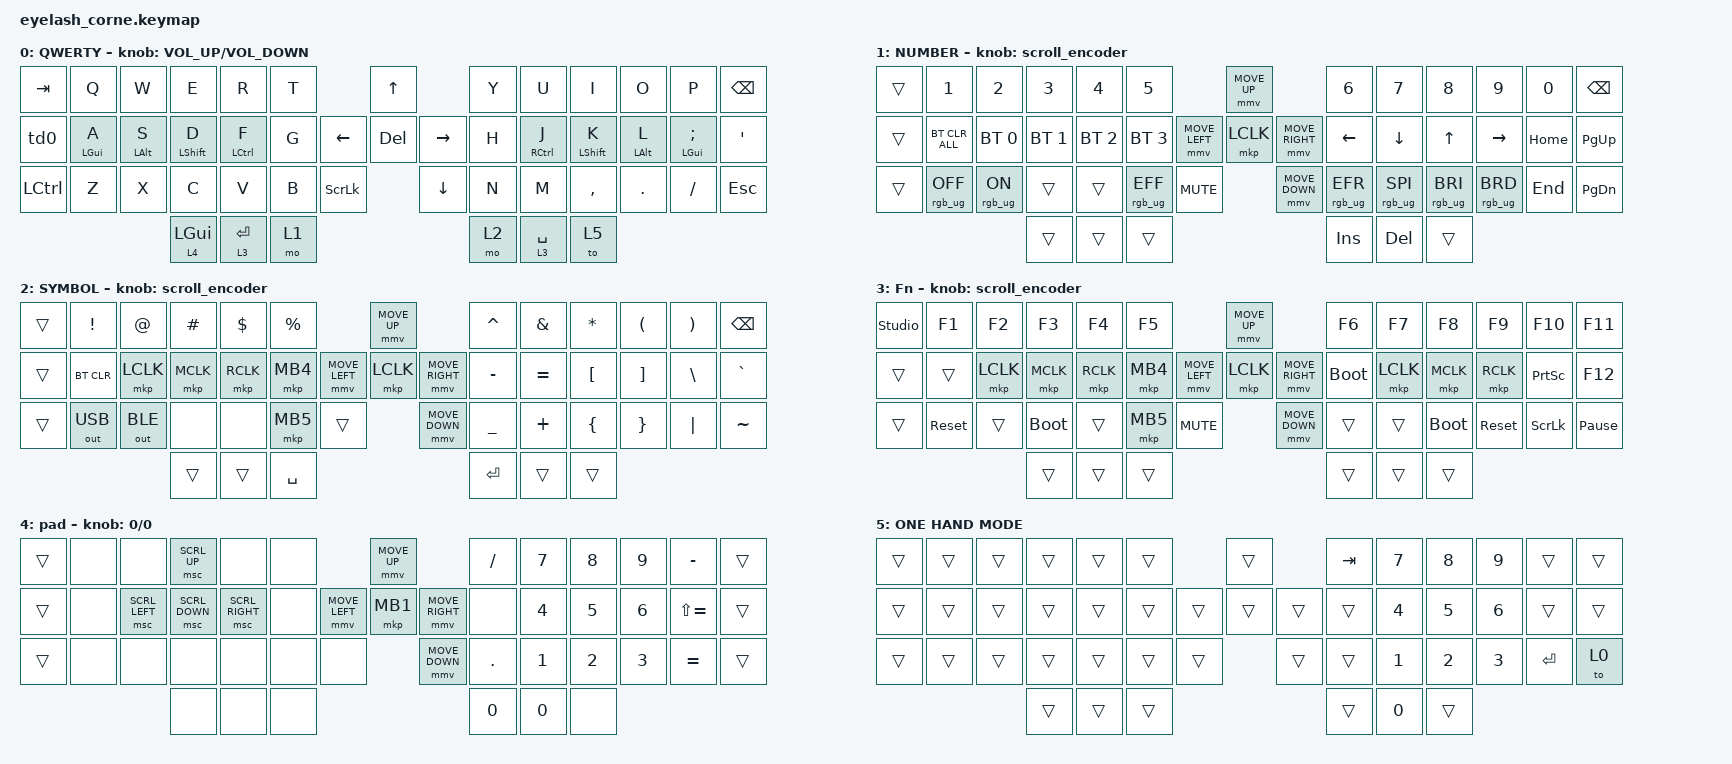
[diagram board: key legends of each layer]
#define ZMK_POINTING_DEFAULT_MOVE_VAL 1200  // 600
#define ZMK_POINTING_DEFAULT_SCRL_VAL 25   // 10

#include <input/processors.dtsi>
#include <zephyr/dt-bindings/input/input-event-codes.h>
#include <behaviors.dtsi>
#include <dt-bindings/zmk/bt.h>
#include <dt-bindings/zmk/keys.h>
#include <dt-bindings/zmk/outputs.h>
#include <dt-bindings/zmk/pointing.h>
#include <dt-bindings/zmk/rgb.h>

&mmv_input_listener { input-processors = <&zip_xy_scaler 2 1>; };

&msc_input_listener { input-processors = <&zip_scroll_scaler 2 1>; };

&msc {
    acceleration-exponent = <1>;      // 0
    time-to-max-speed-ms = <100>;       // 300
    delay-ms = <0>;                   // 0
};

&mmv {
    time-to-max-speed-ms = <500>;
    acceleration-exponent = <1>;
    trigger-period-ms = <16>;
};

/ {
    behaviors {
        td0: td0 {
            compatible = "zmk,behavior-tap-dance";
            display-name = "Shift/Caps Lock Tap Dance";
            #binding-cells = <0>;
            bindings = <&kp LEFT_SHIFT>, <&kp CAPS>;
        };

        HMR: HMR {
            compatible = "zmk,behavior-hold-tap";
            label = "HMR";
            bindings = <&kp>, <&kp>;

            #binding-cells = <2>;
            tapping-term-ms = <400>;
            flavor = "balanced";
            hold-trigger-key-positions = <0 1 2 3 4 5 13 14 15 16 17 18 28 29 30 31 32 33 34 42 43 44 0 1 2 13 14 15>;
            hold-trigger-on-release;
        };

        HML: HML {
            compatible = "zmk,behavior-hold-tap";
            label = "HML";
            bindings = <&kp>, <&kp>;

            #binding-cells = <2>;
            tapping-term-ms = <600>;
            flavor = "balanced";
            hold-trigger-key-positions = <6 7 8 9 10 11 19 20 21 22 23 24 25 26 35 36 37 38 39 40 46 47 6 7 8 9 10 11 12 20 21 22 23 24 25 26 27 35 36 37 38 39 40 41 45 46 47>;
            hold-trigger-on-release;
        };
    };

    rgb_encoder: rgb_encoder {
        compatible = "zmk,behavior-sensor-rotate";
        #sensor-binding-cells = <0>;
        bindings = <&rgb_ug RGB_BRI>, <&rgb_ug RGB_BRD>;
    };

    scroll_encoder: scroll_encoder {
        compatible = "zmk,behavior-sensor-rotate";
        #sensor-binding-cells = <0>;
        bindings = <&msc SCRL_DOWN>, <&msc SCRL_UP>;

        tap-ms = <100>;
    };

    combos {
        compatible = "zmk,combos";

        S1 {
            bindings = <&kp NUMBER_1>;
            key-positions = <14 15>;
        };

        s2 {
            bindings = <&kp NUMBER_2>;
            key-positions = <16 17>;
        };

        copy {
            bindings = <&kp LC(C)>;
            key-positions = <30 31>;
        };

        paste {
            bindings = <&kp LC(V)>;
            key-positions = <31 32>;
        };

        valuepaste {
            bindings = <&kp LA(LC(V))>;
            key-positions = <30 31 32>;
        };

        screencap {
            bindings = <&kp LG(LS(S))>;
            key-positions = <0 28>;
        };

        cut {
            bindings = <&kp LC(X)>;
            key-positions = <29 30>;
        };

        three {
            bindings = <&kp NUMBER_3>;
            key-positions = <14 15 16>;
        };

        four {
            bindings = <&kp NUMBER_4>;
            key-positions = <14 16 17 15>;
        };

        five {
            bindings = <&kp N5>;
            key-positions = <3 4>;
        };

        six {
            bindings = <&kp NUMBER_6>;
            key-positions = <25 26>;
        };

        seven {
            bindings = <&kp N7>;
            key-positions = <23 24>;
        };

        eight {
            bindings = <&kp N8>;
            key-positions = <24 25 26>;
        };

        nine {
            bindings = <&kp N9>;
            key-positions = <23 24 25 26>;
        };

        zero {
            bindings = <&kp N0>;
            key-positions = <8 9>;
        };

        rightblanket {
            bindings = <&kp LEFT_PARENTHESIS>;
            key-positions = <37 38>;
        };

        leftblanket {
            bindings = <&kp RIGHT_PARENTHESIS>;
            key-positions = <39 38>;
        };
    };

    keymap {
        compatible = "zmk,keymap";

        default_layer {
            display-name = "QWERTY";
            bindings = <
&kp TAB    &kp Q            &kp W            &kp E              &kp R         &kp T                              &kp UP               &kp Y  &kp U         &kp I              &kp O            &kp P                    &kp BSPC
&td0       &HML LEFT_GUI A  &HML LEFT_ALT S  &HML LEFT_SHIFT D  &HML LCTRL F  &kp G                    &kp LEFT  &kp DEL   &kp RIGHT  &kp H  &HMR RCTRL J  &HMR LEFT_SHIFT K  &HMR LEFT_ALT L  &HMR LEFT_GUI SEMICOLON  &kp SQT
&kp LCTRL  &kp Z            &kp X            &kp C              &kp V         &kp B  &kp SCROLLLOCK              &kp DOWN             &kp N  &kp M         &kp COMMA          &kp DOT          &kp FSLH                 &kp ESC
                                             &lt 4 LEFT_GUI     &lt 3 ENTER   &mo 1                                                   &mo 2  &lt 3 SPACE   &to 5
            >;

            sensor-bindings = <&inc_dec_kp C_VOLUME_UP C_VOLUME_DOWN>;
        };

        lower_layer {
            display-name = "NUMBER";
            bindings = <
&trans  &kp N1           &kp N2          &kp N3        &kp N4        &kp N5                                         &mmv MOVE_UP                     &kp N6           &kp N7           &kp N8           &kp N9           &kp N0    &kp BSPC
&trans  &bt BT_CLR_ALL   &bt BT_SEL 0    &bt BT_SEL 1  &bt BT_SEL 2  &bt BT_SEL 3                   &mmv MOVE_LEFT  &mkp LCLK       &mmv MOVE_RIGHT  &kp LEFT         &kp DOWN         &kp UP           &kp RIGHT        &kp HOME  &kp PG_UP
&trans  &rgb_ug RGB_OFF  &rgb_ug RGB_ON  &trans        &trans        &rgb_ug RGB_EFF  &kp C_MUTE                    &mmv MOVE_DOWN                   &rgb_ug RGB_EFR  &rgb_ug RGB_SPI  &rgb_ug RGB_BRI  &rgb_ug RGB_BRD  &kp END   &kp PG_DN
                                         &trans        &trans        &trans                                                                          &kp INS          &kp DEL          &trans
            >;

            sensor-bindings = <&scroll_encoder>;
        };

        raise_layer {
            display-name = "SYMBOL";
            bindings = <
&trans  &kp EXCL      &kp AT        &kp HASH   &kp DLLR   &kp PRCNT                            &mmv MOVE_UP                     &kp CARET  &kp AMPS   &kp ASTRK  &kp LPAR  &kp RPAR  &kp BSPC
&trans  &bt BT_CLR    &mkp LCLK     &mkp MCLK  &mkp RCLK  &mkp MB4             &mmv MOVE_LEFT  &mkp LCLK       &mmv MOVE_RIGHT  &kp MINUS  &kp EQUAL  &kp LBKT   &kp RBKT  &kp BSLH  &kp GRAVE
&trans  &out OUT_USB  &out OUT_BLE  &none      &none      &mkp MB5   &trans                    &mmv MOVE_DOWN                   &kp UNDER  &kp PLUS   &kp LBRC   &kp RBRC  &kp PIPE  &kp TILDE
                                    &trans     &trans     &kp SPACE                                                             &kp RET    &trans     &trans
            >;

            sensor-bindings = <&scroll_encoder>;
        };

        layer_3 {
            display-name = "Fn";
            bindings = <
&studio_unlock  &kp F1      &kp F2     &kp F3       &kp F4     &kp F5                                  &mmv MOVE_UP                     &kp F6       &kp F7     &kp F8       &kp F9      &kp F10          &kp F11
&trans          &trans      &mkp LCLK  &mkp MCLK    &mkp RCLK  &mkp MB4                &mmv MOVE_LEFT  &mkp LCLK       &mmv MOVE_RIGHT  &bootloader  &mkp LCLK  &mkp MCLK    &mkp RCLK   &kp PRINTSCREEN  &kp F12
&trans          &sys_reset  &trans     &bootloader  &trans     &mkp MB5  &kp C_MUTE                    &mmv MOVE_DOWN                   &trans       &trans     &bootloader  &sys_reset  &kp SCROLLLOCK   &kp PAUSE_BREAK
                                       &trans       &trans     &trans                                                                   &trans       &trans     &trans
            >;

            sensor-bindings = <&scroll_encoder>;
        };

        numpad {
            bindings = <
&trans  &none  &none           &msc SCRL_UP    &none            &none                           &mmv MOVE_UP                     &kp SLASH   &kp N7  &kp N8  &kp N9  &kp MINUS      &trans
&trans  &none  &msc SCRL_LEFT  &msc SCRL_DOWN  &msc SCRL_RIGHT  &none           &mmv MOVE_LEFT  &mkp MB1        &mmv MOVE_RIGHT  &none       &kp N4  &kp N5  &kp N6  &kp LS(EQUAL)  &trans
&trans  &none  &none           &none           &none            &none  &none                    &mmv MOVE_DOWN                   &kp PERIOD  &kp N1  &kp N2  &kp N3  &kp EQUAL      &trans
                               &none           &none            &none                                                            &kp N0      &kp N0  &none
            >;

            sensor-bindings = <&inc_dec_kp 0 0>;
            label = "pad";
        };

        layer_5 {
            bindings = <
&trans  &trans  &trans  &trans  &trans  &trans                    &trans          &kp TAB  &kp N7  &kp N8  &kp N9  &trans   &trans
&trans  &trans  &trans  &trans  &trans  &trans            &trans  &trans  &trans  &trans   &kp N4  &kp N5  &kp N6  &trans   &trans
&trans  &trans  &trans  &trans  &trans  &trans  &trans            &trans          &trans   &kp N1  &kp N2  &kp N3  &kp RET  &to 0
                        &trans  &trans  &trans                                    &trans   &kp N0  &trans
            >;

            label = "ONE HAND MODE";
        };
    };
};
